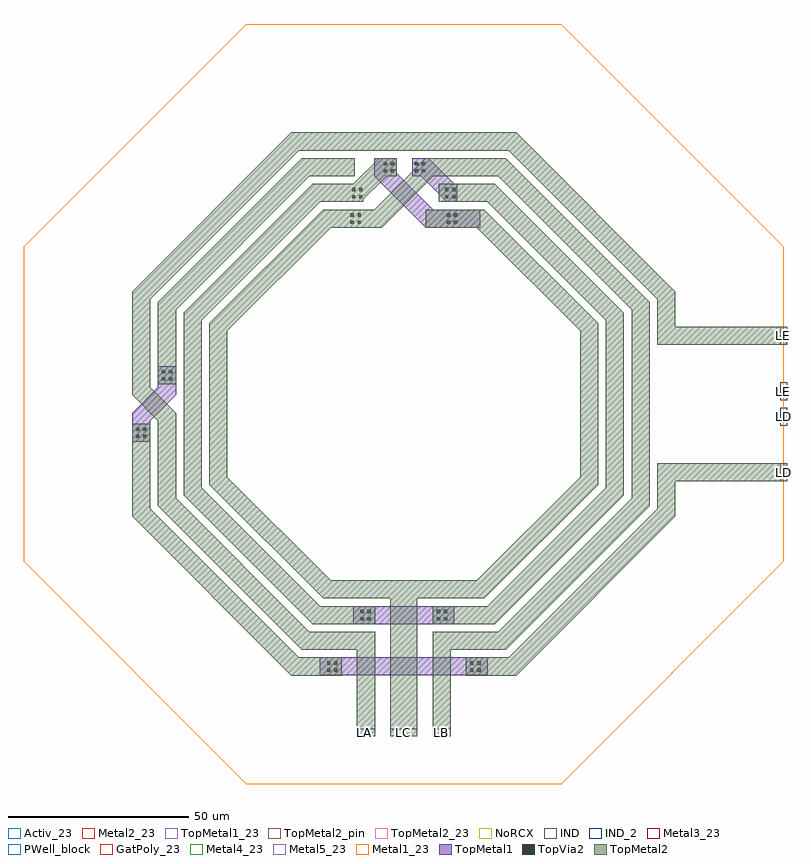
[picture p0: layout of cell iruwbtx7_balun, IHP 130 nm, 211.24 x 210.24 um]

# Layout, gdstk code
import gdstk
lib = gdstk.Library(unit=1e-6, precision=1e-09)
def R(c, l, rs):  # rectangles x0, y0, x1, y1
    for r in rs: c.add(gdstk.rectangle(r[:2], r[2:], *l))
def P(c, l, *ps):  # polygons
    for p in ps: c.add(gdstk.Polygon(p, *l))
Activ_23 = (1, 23)
GatPoly_23 = (5, 23)
Metal1_23 = (8, 23)
Metal2_23 = (10, 23)
IND = (27, 0)
IND_2 = (27, 2)
Metal3_23 = (30, 23)
PWell_block = (46, 21)
Metal4_23 = (50, 23)
Metal5_23 = (67, 23)
TopMetal1 = (126, 0)
TopMetal1_23 = (126, 23)
TopVia2 = (133, 0)
TopMetal2 = (134, 0)
TopMetal2_pin = (134, 2)
TopMetal2_23 = (134, 23)
NoRCX = (148, 0)

iruwbtx7_balun = lib.new_cell('iruwbtx7_balun')
P(iruwbtx7_balun, Activ_23, [(266.68,-11),(205.1,50.58),(205.1,137.66),(266.68,199.24),(353.76,199.24),(415.34,137.66),(415.34,50.58),(353.76,-11)])
P(iruwbtx7_balun, GatPoly_23, [(266.68,-11),(205.1,50.58),(205.1,137.66),(266.68,199.24),(353.76,199.24),(415.34,137.66),(415.34,50.58),(353.76,-11)])
P(iruwbtx7_balun, Metal1_23, [(266.68,-11),(205.1,50.58),(205.1,137.66),(266.68,199.24),(353.76,199.24),(415.34,137.66),(415.34,50.58),(353.76,-11)])
P(iruwbtx7_balun, Metal2_23, [(266.68,-11),(205.1,50.58),(205.1,137.66),(266.68,199.24),(353.76,199.24),(415.34,137.66),(415.34,50.58),(353.76,-11)])
P(iruwbtx7_balun, IND, [(266.68,-11),(205.1,50.58),(205.1,137.66),(266.68,199.24),(353.76,199.24),(415.34,137.66),(415.34,50.58),(353.76,-11)])
R(iruwbtx7_balun, IND_2, [(297.29,2.22,302.29,4.22), (306.49,2.22,313.99,4.22), (318.19,2.22,323.19,4.22), (414.34,88.07,416.34,93.07), (414.34,95.17,416.34,100.17)])
P(iruwbtx7_balun, Metal3_23, [(266.68,-11),(205.1,50.58),(205.1,137.66),(266.68,199.24),(353.76,199.24),(415.34,137.66),(415.34,50.58),(353.76,-11)])
P(iruwbtx7_balun, PWell_block, [(266.68,-11),(205.1,50.58),(205.1,137.66),(266.68,199.24),(353.76,199.24),(415.34,137.66),(415.34,50.58),(353.76,-11)])
P(iruwbtx7_balun, Metal4_23, [(266.68,-11),(205.1,50.58),(205.1,137.66),(266.68,199.24),(353.76,199.24),(415.34,137.66),(415.34,50.58),(353.76,-11)])
P(iruwbtx7_balun, Metal5_23, [(266.68,-11),(205.1,50.58),(205.1,137.66),(266.68,199.24),(353.76,199.24),(415.34,137.66),(415.34,50.58),(353.76,-11)])
R(iruwbtx7_balun, TopMetal1, [(287.06,19.02,333.41,24.02), (296.26,33.22,324.21,38.22), (316.345,142.9,331.345,147.9), (303.932,157.12,308.3,162.12), (312.54,157.12,316.908,162.12)])
P(iruwbtx7_balun, TopMetal1, [(316.345,142.9),(302.105,157.14),(302.105,162.12),(304.205,162.12),(318.425,147.9),(318.425,142.9)],
  [(235.12,83.645),(235.12,91.585),(242.24,98.705),(242.24,104.595),(247.24,104.595),(247.24,96.655),(240.12,89.535),(240.12,83.645)],
  [(322.15,150),(315.03,157.12),(314.14,157.12),(314.14,162.12),(317.11,162.12),(324.23,155),(325.09,155),(325.09,150)])
P(iruwbtx7_balun, TopMetal1_23, [(266.68,-11),(205.1,50.58),(205.1,137.66),(266.68,199.24),(353.76,199.24),(415.34,137.66),(415.34,50.58),(353.76,-11)])
R(iruwbtx7_balun, TopVia2, [(289.01,20.09,289.91,20.99), (290.97,20.09,291.87,20.99), (328.61,20.09,329.51,20.99), (330.57,20.09,331.47,20.99), (289.01,22.05,289.91,22.95), (290.97,22.05,291.87,22.95), (328.61,22.05,329.51,22.95), (330.57,22.05,331.47,22.95), (298.21,34.29,299.11,35.19), (300.17,34.29,301.07,35.19), (319.41,34.29,320.31,35.19), (321.37,34.29,322.27,35.19), (298.21,36.25,299.11,37.15), (300.17,36.25,301.07,37.15), (319.41,36.25,320.31,37.15), (321.37,36.25,322.27,37.15), (236.21,84.715,237.11,85.615), (238.17,84.715,239.07,85.615), (236.21,86.675,237.11,87.575), (238.17,86.675,239.07,87.575), (243.31,100.665,244.21,101.565), (245.27,100.665,246.17,101.565), (243.31,102.625,244.21,103.525), (245.27,102.625,246.17,103.525), (295.49,143.97,296.39,144.87), (297.45,143.97,298.35,144.87), (322.16,143.97,323.06,144.87), (324.12,143.97,325.02,144.87), (295.49,145.93,296.39,146.83), (297.45,145.93,298.35,146.83), (322.16,145.93,323.06,146.83), (324.12,145.93,325.02,146.83), (295.94,151.02,296.84,151.92), (297.9,151.02,298.8,151.92), (321.71,151.02,322.61,151.92), (323.67,151.02,324.57,151.92), (295.94,152.98,296.84,153.88), (297.9,152.98,298.8,153.88), (321.71,152.98,322.61,153.88), (323.67,152.98,324.57,153.88), (304.688,158.17,305.588,159.07), (306.648,158.17,307.548,159.07), (313.29,158.17,314.19,159.07), (315.25,158.17,316.15,159.07), (304.688,160.13,305.588,161.03), (306.648,160.13,307.548,161.03), (313.29,160.13,314.19,161.03), (315.25,160.13,316.15,161.03)])
R(iruwbtx7_balun, TopMetal2, [(305.64,40.32,314.84,45.32), (373.24,93.07,378.24,95.17), (289.165,142.9,304.165,147.9), (303.93,157.12,308.298,162.12), (316.292,157.12,320.66,162.12), (316.307,157.12,320.675,162.12)])
P(iruwbtx7_balun, TopMetal2, [(242.24,99.595),(242.24,122.295),(282.065,162.12),(296.63,162.12),(296.63,157.12),(284.145,157.12),(247.24,120.215),(247.24,99.595)],
  [(318.19,33.22),(318.19,38.22),(333.39,38.22),(366.14,70.97),(366.14,117.27),(333.39,150.02),(319.89,150.02),(319.89,155.02),(335.47,155.02),(371.14,119.35),(371.14,68.89),(335.47,33.22)],
  [(302.085,142.9),(302.085,147.9),(316.305,162.12),(318.405,162.12),(318.405,157.14),(304.165,142.9)],
  [(373.24,95.17),(373.24,120.215),(336.335,157.12),(317.725,157.12),(317.725,162.12),(338.415,162.12),(378.24,122.295),(378.24,95.17)],
  [(295.42,150),(295.42,155),(296.28,155),(303.4,162.12),(306.37,162.12),(306.37,157.12),(305.48,157.12),(298.36,150)],
  [(318.19,26.12),(318.19,31.12),(336.335,31.12),(373.24,68.025),(373.24,93.07),(378.24,93.07),(378.24,65.945),(338.415,26.12)],
  [(285.01,33.22),(249.34,68.89),(249.34,119.35),(285.01,155.02),(299.03,155.02),(299.03,150.02),(287.09,150.02),(254.34,117.27),(254.34,70.97),(287.09,38.22),(302.29,38.22),(302.29,33.22)],
  [(282.065,26.12),(242.24,65.945),(242.24,88.645),(247.24,88.645),(247.24,68.025),(284.145,31.12),(302.29,31.12),(302.29,26.12)],
  [(327.39,19.01),(327.39,24.01),(339.27,24.01),(380.34,65.08),(380.34,77.76),(385.34,77.76),(385.34,63),(341.35,19.01)],
  [(235.12,99.595),(235.12,125.24),(279.11,169.23),(341.35,169.23),(385.34,125.24),(385.34,110.48),(380.34,110.48),(380.34,123.16),(339.27,164.23),(281.19,164.23),(240.12,123.16),(240.12,99.595)],
  [(279.11,19.01),(235.12,63),(235.12,88.645),(240.12,88.645),(240.12,65.08),(281.19,24.01),(293.09,24.01),(293.09,19.01)],
  [(287.955,40.32),(256.45,71.825),(256.45,116.395),(287.955,147.9),(304.133,147.9),(304.133,142.9),(290.035,142.9),(261.45,114.315),(261.45,73.905),(290.035,45.32),(305.64,45.32),(305.64,40.32)],
  [(314.84,40.32),(314.84,45.32),(330.445,45.32),(359.03,73.905),(359.03,114.315),(330.445,142.9),(316.347,142.9),(316.347,147.9),(332.525,147.9),(364.03,116.395),(364.03,71.825),(332.525,40.32)],
  [(242.24,88.645),(242.24,89.535),(235.12,96.655),(235.12,99.595),(240.12,99.595),(240.12,98.735),(247.24,91.615),(247.24,88.645)])
R(iruwbtx7_balun, TopMetal2_pin, [(297.29,2.22,302.29,4.22), (306.49,2.22,313.99,4.22), (318.19,2.22,323.19,4.22), (414.34,72.76,416.34,77.76), (414.34,110.48,416.34,115.48)])
P(iruwbtx7_balun, TopMetal2_23, [(266.68,-11),(205.1,50.58),(205.1,137.66),(266.68,199.24),(353.76,199.24),(415.34,137.66),(415.34,50.58),(353.76,-11)])
P(iruwbtx7_balun, NoRCX, [(266.68,-11),(205.1,50.58),(205.1,137.66),(266.68,199.24),(353.76,199.24),(415.34,137.66),(415.34,50.58),(353.76,-11)])
iruwbtx7_balun.add(gdstk.FlexPath([(310.24,2.22),(310.24,45.32)], 7.5, ends="flush", simple_path=True, layer=134, datatype=0))  # TopMetal2
iruwbtx7_balun.add(gdstk.FlexPath([(299.79,2.22),(299.79,31.12)], 5, ends="flush", simple_path=True, layer=134, datatype=0))  # TopMetal2
iruwbtx7_balun.add(gdstk.FlexPath([(320.69,2.22),(320.69,31.12)], 5, ends="flush", simple_path=True, layer=134, datatype=0))  # TopMetal2
iruwbtx7_balun.add(gdstk.FlexPath([(416.34,75.26),(385.34,75.26)], 5, ends="flush", simple_path=True, layer=134, datatype=0))  # TopMetal2
iruwbtx7_balun.add(gdstk.FlexPath([(416.34,112.98),(385.34,112.98)], 5, ends="flush", simple_path=True, layer=134, datatype=0))  # TopMetal2
iruwbtx7_balun.add(gdstk.Label('LE', (415.34,97.67), layer=27, texttype=25))
iruwbtx7_balun.add(gdstk.Label('LD', (415.34,90.57), layer=27, texttype=25))
iruwbtx7_balun.add(gdstk.Label('LC', (310.24,3.22), layer=27, texttype=25))
iruwbtx7_balun.add(gdstk.Label('LA', (299.39,3.219), layer=27, texttype=25))
iruwbtx7_balun.add(gdstk.Label('LB', (320.69,3.219), layer=27, texttype=25))
iruwbtx7_balun.add(gdstk.Label('LB', (320.69,3.24), layer=134, texttype=25))
iruwbtx7_balun.add(gdstk.Label('LC', (310.24,3.241), layer=134, texttype=25))
iruwbtx7_balun.add(gdstk.Label('LA', (299.39,3.24), layer=134, texttype=25))
iruwbtx7_balun.add(gdstk.Label('LD', (415.34,75.26), layer=134, texttype=25))
iruwbtx7_balun.add(gdstk.Label('LE', (415.34,112.98), layer=134, texttype=25))

lib.write_gds('iruwbtx7_balun.gds')
